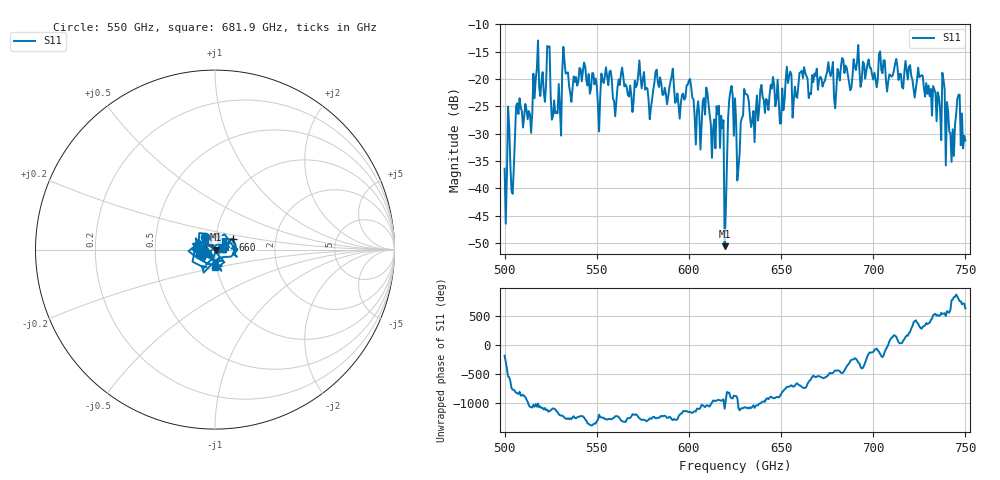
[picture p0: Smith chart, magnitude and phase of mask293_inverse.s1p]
!Created with skrf (http://scikit-rf.org).
# GHz S MA R 50.0
!freq magS11 angS11
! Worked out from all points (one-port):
!   401 points, 500 GHz to 750 GHz, reference 50 ohm
!   lowest |S11| = -50.5 dB at 619.4 GHz (marker M1), VSWR 1.01, Z = 50.3 - j0.0722 ohm
!   |S11| at or under -10 dB: start of sweep to end of sweep
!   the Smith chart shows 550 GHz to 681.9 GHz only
!   S11 on the Smith chart (normalised r, x): 550 GHz: 0.89, +0.12; 660 GHz: 1.21, +0.14; 681.9 GHz: 0.99, -0.19
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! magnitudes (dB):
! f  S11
! 500 GHz  -36.4
! 504.4 GHz  -41.0
! 507.5 GHz  -26.4
! 513.8 GHz  -26.5
! 516.9 GHz  -20.1
! 523.8 GHz  -14.1
! 526.9 GHz  -23.9
! 531.2 GHz  -18.7
! 550 GHz  -21.1
! 562.5 GHz  -21.1
! 593.8 GHz  -22.7
! 609.4 GHz  -21.6
! 613.1 GHz  -29.1
! 617.5 GHz  -26.7
! 619.4 GHz  -50.5
! 622.5 GHz  -22.3
! 625 GHz  -23.5
! 626.9 GHz  -36.3
! 631.2 GHz  -22.8
! 656.2 GHz  -27.0
! 660 GHz  -18.9
! 681.9 GHz  -20.3
! 687.5 GHz  -22.1
! 718.8 GHz  -20.1
! 738.8 GHz  -21.9
! 742.5 GHz  -35.1
! 745.6 GHz  -23.7
! 750 GHz  -31.3
